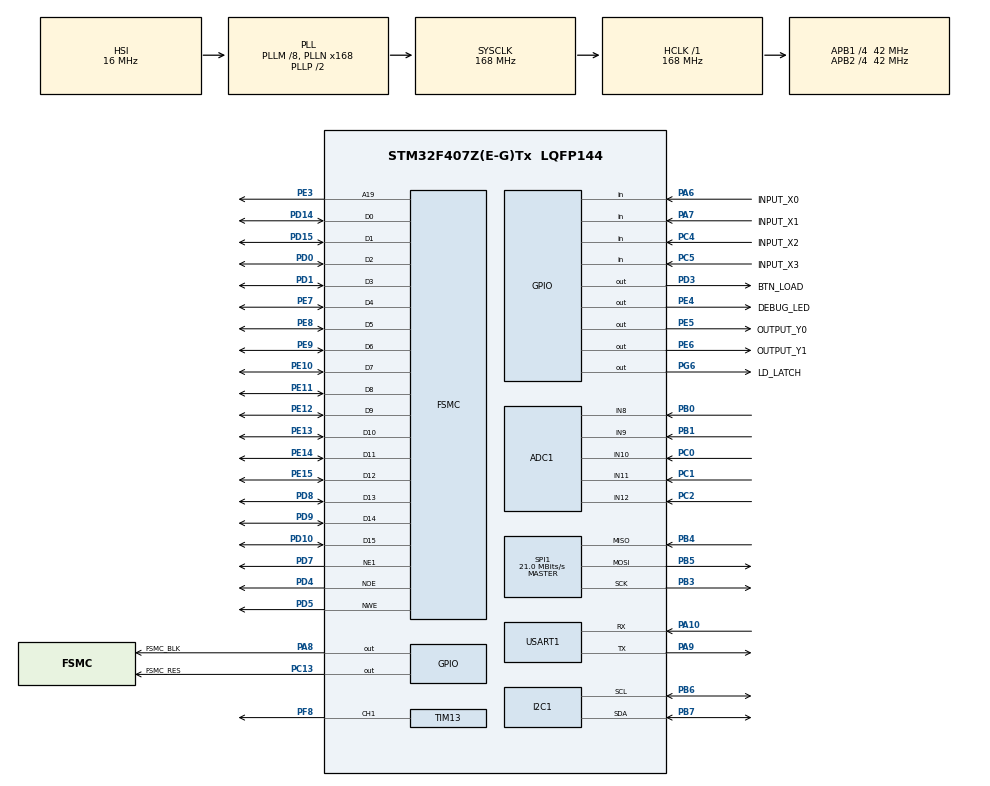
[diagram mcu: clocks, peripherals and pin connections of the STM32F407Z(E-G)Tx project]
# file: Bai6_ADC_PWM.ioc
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ADC1.Channel-0\#ChannelRegularConversion=ADC_CHANNEL_8
ADC1.Channel-1\#ChannelRegularConversion=ADC_CHANNEL_9
ADC1.Channel-2\#ChannelRegularConversion=ADC_CHANNEL_10
ADC1.Channel-3\#ChannelRegularConversion=ADC_CHANNEL_11
ADC1.Channel-4\#ChannelRegularConversion=ADC_CHANNEL_12
ADC1.NbrOfConversion=5
ADC1.NbrOfConversionFlag=1
ADC1.Rank-0\#ChannelRegularConversion=1
ADC1.Rank-1\#ChannelRegularConversion=2
ADC1.Rank-2\#ChannelRegularConversion=3
ADC1.Rank-3\#ChannelRegularConversion=4
ADC1.Rank-4\#ChannelRegularConversion=5
ADC1.SamplingTime-0\#ChannelRegularConversion=ADC_SAMPLETIME_3CYCLES
ADC1.SamplingTime-1\#ChannelRegularConversion=ADC_SAMPLETIME_3CYCLES
ADC1.SamplingTime-2\#ChannelRegularConversion=ADC_SAMPLETIME_3CYCLES
ADC1.SamplingTime-3\#ChannelRegularConversion=ADC_SAMPLETIME_3CYCLES
ADC1.SamplingTime-4\#ChannelRegularConversion=ADC_SAMPLETIME_3CYCLES
ADC1.ScanConvMode=ENABLE
ADC1.master=1
Dma.ADC1.0.Direction=DMA_PERIPH_TO_MEMORY
Dma.ADC1.0.FIFOMode=DMA_FIFOMODE_DISABLE
Dma.ADC1.0.Instance=DMA2_Stream0
Dma.ADC1.0.MemDataAlignment=DMA_MDATAALIGN_HALFWORD
Dma.ADC1.0.MemInc=DMA_MINC_ENABLE
Dma.ADC1.0.Mode=DMA_CIRCULAR
Dma.ADC1.0.PeriphDataAlignment=DMA_PDATAALIGN_HALFWORD
Dma.ADC1.0.PeriphInc=DMA_PINC_DISABLE
Dma.ADC1.0.Priority=DMA_PRIORITY_LOW
Dma.Request0=ADC1
FSMC.AddressSetupTime1=0xf
FSMC.BusTurnAroundDuration1=0
FSMC.DataSetupTime1=60
FSMC.ExtendedAddressSetupTime1=8
FSMC.ExtendedBusTurnAroundDuration1=0
FSMC.ExtendedDataSetupTime1=9
FSMC.ExtendedMode1=FSMC_EXTENDED_MODE_ENABLE
Mcu.Family=STM32F4
Mcu.Name=STM32F407Z(E-G)Tx
Mcu.Package=LQFP144
NVIC.DMA2_Stream0_IRQn=true\:0\:0\:false\:false\:true\:false\:true\:true
NVIC.PriorityGroup=NVIC_PRIORITYGROUP_4
NVIC.TIM2_IRQn=true\:0\:0\:false\:false\:true\:true\:true\:true
NVIC.USART1_IRQn=true\:0\:0\:false\:false\:true\:true\:true\:true
PA10.Mode=Asynchronous
PA10.Signal=USART1_RX
PA13.Mode=Serial_Wire
PA13.Signal=SYS_JTMS-SWDIO
PA14.Mode=Serial_Wire
PA14.Signal=SYS_JTCK-SWCLK
PA6.GPIO_Label=INPUT_X0
PA6.Signal=GPIO_Input
PA7.GPIO_Label=INPUT_X1
PA7.Signal=GPIO_Input
PA8.GPIO_Label=FSMC_BLK
PA8.Signal=GPIO_Output
PA9.Mode=Asynchronous
PA9.Signal=USART1_TX
PB0.Signal=ADCx_IN8
PB1.Signal=ADCx_IN9
PB3.Mode=Full_Duplex_Master
PB3.Signal=SPI1_SCK
PB4.Mode=Full_Duplex_Master
PB4.Signal=SPI1_MISO
PB5.Mode=Full_Duplex_Master
PB5.Signal=SPI1_MOSI
PB6.Mode=I2C
PB6.Signal=I2C1_SCL
PB7.Mode=I2C
PB7.Signal=I2C1_SDA
PC0.Signal=ADCx_IN10
PC1.Signal=ADCx_IN11
PC13-ANTI_TAMP.GPIO_Label=FSMC_RES
PC13-ANTI_TAMP.Signal=GPIO_Output
PC2.Signal=ADCx_IN12
PC4.GPIO_Label=INPUT_X2
PC4.Signal=GPIO_Input
PC5.GPIO_Label=INPUT_X3
PC5.Signal=GPIO_Input
PD0.Signal=FSMC_D2_DA2
PD1.Signal=FSMC_D3_DA3
PD10.Signal=FSMC_D15_DA15
PD14.Signal=FSMC_D0_DA0
PD15.Signal=FSMC_D1_DA1
PD3.GPIO_Label=BTN_LOAD
PD3.Signal=GPIO_Output
PD4.Signal=FSMC_NOE
PD5.Signal=FSMC_NWE
PD7.Mode=NorPsramChipSelect1_1
PD7.Signal=FSMC_NE1
PD8.Signal=FSMC_D13_DA13
PD9.Signal=FSMC_D14_DA14
PE10.Signal=FSMC_D7_DA7
PE11.Signal=FSMC_D8_DA8
PE12.Signal=FSMC_D9_DA9
PE13.Signal=FSMC_D10_DA10
PE14.Signal=FSMC_D11_DA11
PE15.Signal=FSMC_D12_DA12
PE3.Signal=FSMC_A19
PE4.GPIO_Label=DEBUG_LED
PE4.Signal=GPIO_Output
PE5.GPIO_Label=OUTPUT_Y0
PE5.Signal=GPIO_Output
PE6.GPIO_Label=OUTPUT_Y1
PE6.Signal=GPIO_Output
PE7.Signal=FSMC_D4_DA4
PE8.Signal=FSMC_D5_DA5
PE9.Signal=FSMC_D6_DA6
PF8.Signal=S_TIM13_CH1
PG6.GPIO_Label=LD_LATCH
PG6.Signal=GPIO_Output
PH0-OSC_IN.Mode=HSE-External-Oscillator
PH0-OSC_IN.Signal=RCC_OSC_IN
PH1-OSC_OUT.Mode=HSE-External-Oscillator
PH1-OSC_OUT.Signal=RCC_OSC_OUT
ProjectManager.HeapSize=0x200
ProjectManager.StackSize=0x400
ProjectManager.TargetToolchain=STM32CubeIDE
RCC.48MHZClocksFreq_Value=84000000
RCC.AHBFreq_Value=168000000
RCC.APB1CLKDivider=RCC_HCLK_DIV4
RCC.APB1Freq_Value=42000000
RCC.APB1TimFreq_Value=84000000
RCC.APB2CLKDivider=RCC_HCLK_DIV4
RCC.APB2Freq_Value=42000000
RCC.APB2TimFreq_Value=84000000
RCC.CortexFreq_Value=168000000
RCC.HCLKFreq_Value=168000000
RCC.HSE_VALUE=8000000
RCC.HSI_VALUE=16000000
RCC.LSE_VALUE=32768
RCC.PLLM=8
RCC.PLLN=168
RCC.SYSCLKFreq_VALUE=168000000
RCC.SYSCLKSource=RCC_SYSCLKSOURCE_PLLCLK
RCC.VCOOutputFreq_Value=336000000
SH.ADCx_IN10.0=ADC1_IN10,IN10
SH.ADCx_IN11.0=ADC1_IN11,IN11
SH.ADCx_IN12.0=ADC1_IN12,IN12
SH.ADCx_IN8.0=ADC1_IN8,IN8
SH.ADCx_IN9.0=ADC1_IN9,IN9
SH.FSMC_A19.0=FSMC_A19,A19_1
SH.FSMC_D0_DA0.0=FSMC_D0,16b-d1
SH.FSMC_D10_DA10.0=FSMC_D10,16b-d1
SH.FSMC_D11_DA11.0=FSMC_D11,16b-d1
SH.FSMC_D12_DA12.0=FSMC_D12,16b-d1
SH.FSMC_D13_DA13.0=FSMC_D13,16b-d1
SH.FSMC_D14_DA14.0=FSMC_D14,16b-d1
SH.FSMC_D15_DA15.0=FSMC_D15,16b-d1
SH.FSMC_D1_DA1.0=FSMC_D1,16b-d1
SH.FSMC_D2_DA2.0=FSMC_D2,16b-d1
SH.FSMC_D3_DA3.0=FSMC_D3,16b-d1
SH.FSMC_D4_DA4.0=FSMC_D4,16b-d1
SH.FSMC_D5_DA5.0=FSMC_D5,16b-d1
SH.FSMC_D6_DA6.0=FSMC_D6,16b-d1
SH.FSMC_D7_DA7.0=FSMC_D7,16b-d1
SH.FSMC_D8_DA8.0=FSMC_D8,16b-d1
SH.FSMC_D9_DA9.0=FSMC_D9,16b-d1
SH.FSMC_NOE.0=FSMC_NOE,Lcd1
SH.FSMC_NWE.0=FSMC_NWE,Lcd1
SH.S_TIM13_CH1.0=TIM13_CH1,PWM Generation1 CH1
SPI1.BaudRatePrescaler=SPI_BAUDRATEPRESCALER_2
SPI1.CalculateBaudRate=21.0 MBits/s
SPI1.Direction=SPI_DIRECTION_2LINES
SPI1.Mode=SPI_MODE_MASTER
SPI1.VirtualType=VM_MASTER
TIM13.Channel=TIM_CHANNEL_1
TIM13.Period=100-1
TIM13.Prescaler=840-1
TIM2.Period=100-1
TIM2.Prescaler=840-1
USART1.VirtualMode=VM_ASYNC
VP_TIM13_VS_ClockSourceINT.Mode=Enable_Timer
VP_TIM2_VS_ClockSourceINT.Mode=Internal
board=custom

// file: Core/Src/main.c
/* USER CODE BEGIN Header */
/**
  ******************************************************************************
  * @file           : main.c
  * @brief          : Main program body
  ******************************************************************************
  * @attention
  *
  * <h2><center>&copy; Copyright (c) 2023 STMicroelectronics.
  * All rights reserved.</center></h2>
  *
  * This software component is licensed by ST under BSD 3-Clause license,
  * the "License"; You may not use this file except in compliance with the
  * License. You may obtain a copy of the License at:
  *                        opensource.org/licenses/BSD-3-Clause
  *
  ******************************************************************************
  */
/* USER CODE END Header */
#include "main.h"
#include "adc.h"
#include "dma.h"
#include "i2c.h"
#include "spi.h"
#include "tim.h"
#include "usart.h"
#include "gpio.h"
#include "fsmc.h"

/* USER CODE BEGIN Includes */
#include "software_timer.h"
#include "led_7seg.h"
#include "button.h"
#include "lcd.h"
#include "picture.h"
#include "ds3231.h"
#include "sensor.h"
#include "buzzer.h"
#include "uart.h"
#include "draw_line_chart.h"
/* USER CODE END Includes */

/* USER CODE BEGIN PV */
float info[2];
uint8_t minute[2];
uint8_t second[2];
char powerString[100];
char tempString[100];
/* USER CODE END PV */

void SystemClock_Config(void);
/* USER CODE BEGIN PFP */
void system_init();
void test_LedDebug();
void test_Buzzer();
void test_Adc();
/* USER CODE END PFP */

int main(void)
{

  /* MCU Configuration--------------------------------------------------------*/

  /* Reset of all peripherals, Initializes the Flash interface and the Systick. */
  HAL_Init();

  /* Configure the system clock */
  SystemClock_Config();

  /* Initialize all configured peripherals */
  MX_GPIO_Init();
  MX_DMA_Init();
  MX_SPI1_Init();
  MX_FSMC_Init();
  MX_I2C1_Init();
  MX_TIM13_Init();
  MX_TIM2_Init();
  MX_ADC1_Init();
  MX_USART1_UART_Init();
  /* USER CODE BEGIN 2 */
  system_init();
  /* USER CODE END 2 */

  /* Infinite loop */
  /* USER CODE BEGIN WHILE */
 lcd_Clear(BLACK);
 int dur_led = 20;
  while (1)
  {
	  while(!flag_timer2);
	  flag_timer2 = 0;
//	  button_Scan();
//	  test_LedDebug();
//	  test_Adc();
//	  test_Buzzer();
	  LineChart();

	  dur_led--;
	  if (dur_led == 0){
		  dur_led = 20;
		  check_led();
	  }
    /* USER CODE END WHILE */

  }
}

void SystemClock_Config(void)
{
  RCC_OscInitTypeDef RCC_OscInitStruct = {0};
  RCC_ClkInitTypeDef RCC_ClkInitStruct = {0};

  /** Configure the main internal regulator output voltage
  */
  __HAL_RCC_PWR_CLK_ENABLE();
  __HAL_PWR_VOLTAGESCALING_CONFIG(PWR_REGULATOR_VOLTAGE_SCALE1);

  /** Initializes the RCC Oscillators according to the specified parameters
  * in the RCC_OscInitTypeDef structure.
  */
  RCC_OscInitStruct.OscillatorType = RCC_OSCILLATORTYPE_HSI;
  RCC_OscInitStruct.HSIState = RCC_HSI_ON;
  RCC_OscInitStruct.HSICalibrationValue = RCC_HSICALIBRATION_DEFAULT;
  RCC_OscInitStruct.PLL.PLLState = RCC_PLL_ON;
  RCC_OscInitStruct.PLL.PLLSource = RCC_PLLSOURCE_HSI;
  RCC_OscInitStruct.PLL.PLLM = 8;
  RCC_OscInitStruct.PLL.PLLN = 168;
  RCC_OscInitStruct.PLL.PLLP = RCC_PLLP_DIV2;
  RCC_OscInitStruct.PLL.PLLQ = 4;
  if (HAL_RCC_OscConfig(&RCC_OscInitStruct) != HAL_OK)
  {
    Error_Handler();
  }

  /** Initializes the CPU, AHB and APB buses clocks
  */
  RCC_ClkInitStruct.ClockType = RCC_CLOCKTYPE_HCLK|RCC_CLOCKTYPE_SYSCLK
                              |RCC_CLOCKTYPE_PCLK1|RCC_CLOCKTYPE_PCLK2;
  RCC_ClkInitStruct.SYSCLKSource = RCC_SYSCLKSOURCE_PLLCLK;
  RCC_ClkInitStruct.AHBCLKDivider = RCC_SYSCLK_DIV1;
  RCC_ClkInitStruct.APB1CLKDivider = RCC_HCLK_DIV4;
  RCC_ClkInitStruct.APB2CLKDivider = RCC_HCLK_DIV4;

  if (HAL_RCC_ClockConfig(&RCC_ClkInitStruct, FLASH_LATENCY_5) != HAL_OK)
  {
    Error_Handler();
  }
}

/* USER CODE BEGIN 4 */
void system_init(){
	  timer_init();
	  led7_init();
	  button_init();
	  lcd_init();
	  uart_init_rs232();
	  sensor_init();
	  buzzer_init();
	  setTimer2(50);
}

uint8_t count_led_debug = 0;

void test_LedDebug(){
	count_led_debug = (count_led_debug + 1)%20;
	if(count_led_debug == 0){
		HAL_GPIO_TogglePin(DEBUG_LED_GPIO_Port, DEBUG_LED_Pin);
	}
}

uint8_t isButtonUp()
{
    if (button_count[3] == 1)
        return 1;
    else
        return 0;
}

uint8_t isButtonDown()
{
    if (button_count[7] == 1)
        return 1;
    else
        return 0;
}

uint8_t isButtonRight()
{
    if (button_count[11] == 1)
        return 1;
    else
        return 0;
}

uint8_t count_adc = 0;

void check_led(){
	led7_SetDigit(minute[0], 1, 0);
	led7_SetDigit(minute[1], 0, 0);
	led7_SetDigit(second[0], 3, 0);
	led7_SetDigit(second[1], 2, 0);

	second[0]++;
	if (second[0] > 9) {
		second[0] = 0;
		second[1]++;
		if (second[1] > 9) {
			second[1] = 0;
			minute[0]++;
			if (minute[0] > 9) {
				minute[0] = 0;
				minute[1]++;
				if (minute[1] > 9) minute[1] = 0;
			}
		}
	}
}

void test_Adc(){
	led7_SetDigit(minute[0], 0, 0);
	led7_SetDigit(minute[1], 1, 0);
	led7_SetDigit(second[0], 2, 0);
	led7_SetDigit(second[1], 3, 0);
	count_adc = (count_adc + 1)%20;
	if(count_adc == 0){
		second[1]++;
		check_led();
		sensor_Read();
		info[0] = sensor_GetVoltage() * sensor_GetCurrent();
		sprintf(powerString, "%.2f", info[0]);
		info[1] = sensor_GetTemperature();
		// Power consumption
		lcd_ShowStr(10, 100, "Power:", RED, BLACK, 16, 0);
		lcd_ShowStr(130, 100, powerString, RED, BLACK, 16, 0);
		lcd_ShowStr(200, 100, "mW", YELLOW, BLACK, 16, 0);

		// Light
		lcd_ShowStr(10, 120, "Light:", RED, BLACK, 16, 0);
		if (((float)sensor_GetLight() / 4095) > 0.5) {
			lcd_Fill(130, 120, 240, 140, BLACK);
			lcd_ShowStr(130, 120, "Weak", YELLOW, BLACK, 16, 0);
		} else {
			lcd_Fill(130, 120, 240, 140, BLACK);
			lcd_ShowStr(130, 120, "Strong", YELLOW, BLACK, 16, 0);
		}

		// Temperature
		lcd_ShowStr(10, 140, "Temperature:", RED, BLACK, 16, 0);
		lcd_ShowFloatNum(130, 140, info[1], 4, RED, BLACK, 16);
		lcd_ShowStr(200, 140, "oC", YELLOW, BLACK, 16, 0);

		// Humidity
		lcd_ShowStr(10, 160, "Humidity:", RED, BLACK, 16, 0);
		lcd_ShowIntNum(130, 160, sensor_GetPotentiometer() * 100 / 4095 , 2, RED, BLACK, 16);
		lcd_ShowStr(200, 160, "%", YELLOW, BLACK, 16, 0);

		int temp = (int) sensor_GetCurrent() * 100;
		sprintf(tempString, "%d", temp);
		lcd_ShowIntNum(10, 250, temp, 8, WHITE, BLACK, 16);
		lcd_ShowStr(10, 270, tempString, WHITE, BLACK, 16, 0);

//		lcd_ShowIntNum(130, 140, sensor_GetLight(), 4, RED, BLACK, 16);
//		lcd_ShowStr(10, 160, "Potentiometer:", RED, BLACK, 16, 0);
//		lcd_ShowIntNum(130, 160, sensor_GetPotentiometer(), 4, RED, BLACK, 16);
//		lcd_ShowStr(10, 180, "Temperature:", RED, BLACK, 16, 0);
//		lcd_ShowFloatNum(130, 180,sensor_GetTemperature(), 4, RED, BLACK, 16);
	}
}

int isBuzzerOn = 0;
int dur_buzzer = 20;

void test_Buzzer(){
/*	if(isButtonUp()){
		buzzer_SetVolume(50);
	}

	if(isButtonDown()){
		buzzer_SetVolume(0);
	}

	if(isButtonRight()){
		buzzer_SetVolume(25);
	}
*/
	dur_buzzer--;
	if (dur_buzzer == 0){
		dur_buzzer = 20;
		if (sensor_GetPotentiometer() * 100 / 4095 > 70){
			if (isBuzzerOn){
				buzzer_SetVolume(0);
				uart_Rs232SendString("Warning humidity\n");
			}
			else buzzer_SetVolume(25);
			isBuzzerOn = !isBuzzerOn;
		}
		else buzzer_SetVolume(0);
	}
}
/* USER CODE END 4 */

void Error_Handler(void)
{
  __disable_irq();
  while (1)
  {
  }
}
